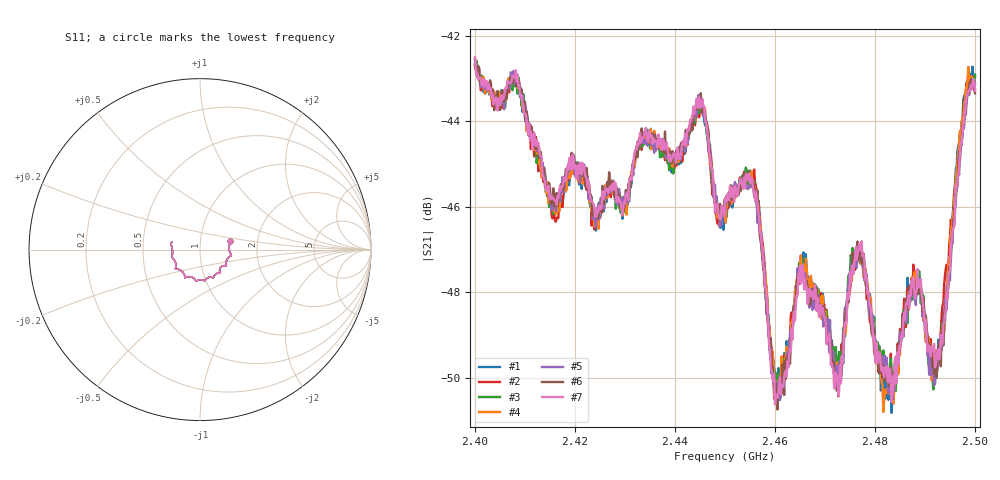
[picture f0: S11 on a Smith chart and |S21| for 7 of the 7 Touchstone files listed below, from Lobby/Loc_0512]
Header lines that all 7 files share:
# Hz S RI R
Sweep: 2.4 GHz to 2.5 GHz
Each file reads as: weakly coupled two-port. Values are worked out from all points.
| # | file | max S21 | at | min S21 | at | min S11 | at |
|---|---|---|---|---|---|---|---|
| 1 | Lab_139_1Ch1.s2p | -42.60 dB | 2.4002 GHz | -50.8 dB | 2.4833 GHz | -16.0 dB | 2.4257 GHz |
| 2 | Lab_139_2Ch1.s2p | -42.69 dB | 2.4 GHz | -50.5 dB | 2.46 GHz | -15.9 dB | 2.4258 GHz |
| 3 | Lab_139_3Ch1.s2p | -42.56 dB | 2.4 GHz | -50.3 dB | 2.4842 GHz | -15.9 dB | 2.4257 GHz |
| 4 | Lab_139_5Ch1.s2p | -42.53 dB | 2.4 GHz | -50.8 dB | 2.4817 GHz | -15.9 dB | 2.4258 GHz |
| 5 | Lab_139_7Ch1.s2p | -42.55 dB | 2.4 GHz | -50.5 dB | 2.461 GHz | -15.9 dB | 2.4258 GHz |
| 6 | Lab_139_9Ch1.s2p | -42.68 dB | 2.4 GHz | -50.7 dB | 2.4605 GHz | -15.9 dB | 2.4257 GHz |
| 7 | Lab_139_10Ch1.s2p | -42.50 dB | 2.4 GHz | -50.6 dB | 2.46 GHz | -15.9 dB | 2.4258 GHz |
